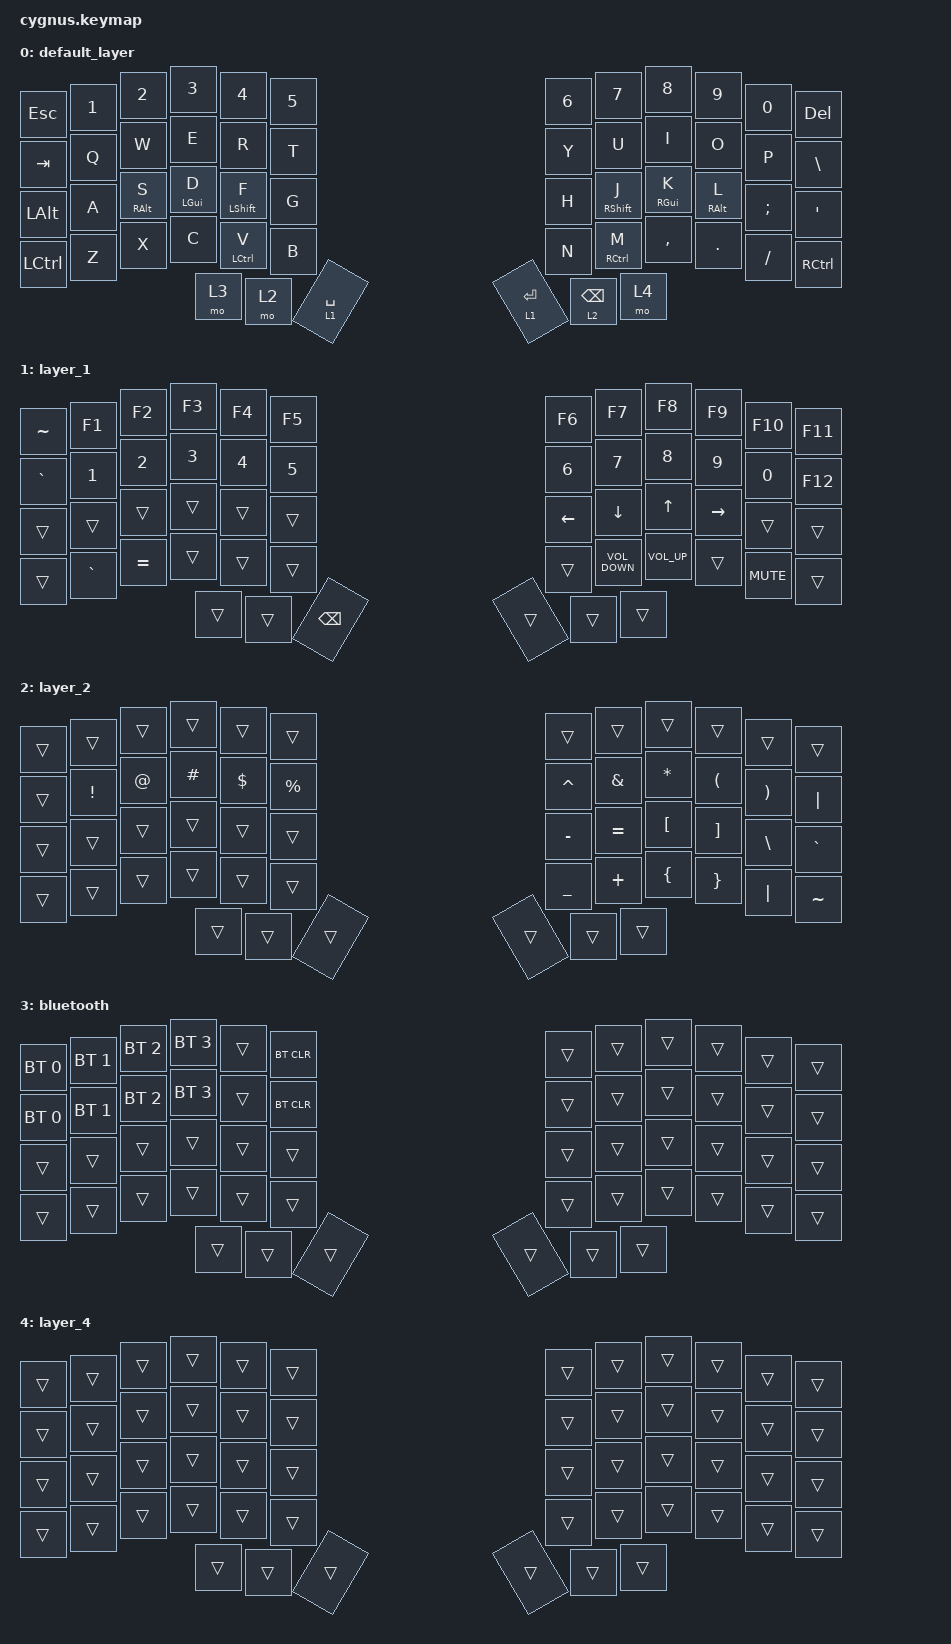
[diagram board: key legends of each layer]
//#include <behaviors/rgbled_widget.dtsi>

#include <behaviors.dtsi>
#include <dt-bindings/zmk/bt.h>
#include <dt-bindings/zmk/keys.h>

/ {
    combos {
        compatible = "zmk,combos";

        bt2 {
            bindings = <&mo 3>;
            key-positions = <48 53>;
        };
    };

    behaviors {
        hml: hml {
            compatible = "zmk,behavior-hold-tap";
            label = "HOME_ROW_LEFT";
            bindings = <&kp>, <&kp>;

            #binding-cells = <2>;
            hold-trigger-key-positions = <6 7 8 9 10 11 18 19 20 21 22 23 30 31 32 33 34 35 42 43 44 45 46 47>;
            tapping-term-ms = <180>;
            quick-tap-ms = <175>;
            require-prior-idle-ms = <150>;
            flavor = "balanced";
            hold-trigger-on-release;
        };

        hmr: hmr {
            compatible = "zmk,behavior-hold-tap";
            label = "HOME_ROW_RIGHT";
            bindings = <&kp>, <&kp>;

            #binding-cells = <2>;
            tapping-term-ms = <180>;
            quick-tap-ms = <175>;
            require-prior-idle-ms = <150>;
            flavor = "balanced";
            hold-trigger-key-positions = <0 1 2 3 4 5 12 13 14 15 16 17 24 25 26 27 28 29 36 37 38 39 40 41>;
            hold-trigger-on-release;
        };
    };

    keymap {
        compatible = "zmk,keymap";

        default_layer {
            // -----------------------------------------------------------------------------------------
            // |  ESC |  1  |  2  |  3  |  4  |  5  |   |  6  |  7   |  8  |  9  |  0  |  ?   |
            // |  TAB |  Q  |  W  |  E  |  R  |  T  |   |  Y  |  U   |  I  |  O  |  P  | BKSP |
            // | CTRL |  A  |  S  |  D  |  F  |  G  |   |  H  |  J   |  K  |  L  |  ;  |  '   |
            // | SHFT |  Z  |  X  |  C  |  V  |  B  |   |  N  |  M   |  ,  |  .  |  /  | ESC  |
            //                    | GUI | LWR | SPC |   | ENT | RSE  | ALT |

            bindings = <
&kp ESCAPE        &kp N1  &kp N2            &kp N3           &kp N4               &kp N5         &kp N6       &kp N7                &kp N8            &kp N9            &kp N0     &kp DELETE
&kp TAB           &kp Q   &kp W             &kp E            &kp R                &kp T          &kp Y        &kp U                 &kp I             &kp O             &kp P      &kp BACKSLASH
&kp LEFT_ALT      &kp A   &hml RIGHT_ALT S  &hml LEFT_GUI D  &hml LEFT_SHIFT F    &kp G          &kp H        &hmr RIGHT_SHIFT J    &hmr RIGHT_GUI K  &hmr RIGHT_ALT L  &kp SEMI   &kp SQT
&kp LEFT_CONTROL  &kp Z   &kp X             &kp C            &hml LEFT_CONTROL V  &kp B          &kp N        &hmr RIGHT_CONTROL M  &kp COMMA         &kp DOT           &kp SLASH  &kp RIGHT_CONTROL
                                            &mo 3            &mo 2                &lt 1 SPACE    &lt 1 ENTER  &lt 2 BACKSPACE       &mo 4
            >;
        };

        layer_1 {
            // -----------------------------------------------------------------------------------------
            // |  TAB |  F1 |  F2 |  F3 |  F4 |  F5 |   |  F6 |  F7 |  F8 |  F9 | F10 | BKSP |
            // |  TAB |  1  |  2  |  3  |  4  |  5  |   |  6  |  7  |  8  |  9  |  0  | BKSP |
            // | BTCLR| BT1 | BT2 | BT3 | BT4 | BT5 |   | LFT | DWN |  UP | RGT |     |      |
            // | SHFT |     |     |     |     |     |   |     |     |     |     |     |      |
            //                    | GUI |     | SPC |   | ENT |     | ALT |

            bindings = <
&kp TILDE  &kp F1        &kp F2        &kp F3        &kp F4        &kp F5           &kp F6          &kp F7             &kp F8           &kp F9           &kp F10     &kp F11
&kp GRAVE  &kp NUMBER_1  &kp NUMBER_2  &kp NUMBER_3  &kp NUMBER_4  &kp N5           &kp N6          &kp N7             &kp N8           &kp N9           &kp N0      &kp F12
&trans     &trans        &trans        &trans        &trans        &trans           &kp LEFT_ARROW  &kp DOWN_ARROW     &kp UP_ARROW     &kp RIGHT_ARROW  &trans      &trans
&trans     &kp GRAVE     &kp EQUAL     &trans        &trans        &trans           &trans          &kp C_VOLUME_DOWN  &kp C_VOLUME_UP  &trans           &kp C_MUTE  &trans
                                       &trans        &trans        &kp BACKSPACE    &trans          &trans             &trans
            >;
        };

        layer_2 {
            // -----------------------------------------------------------------------------------------
            // |  TAB |  !  |  @  |  #  |  $  |  %  |   |  ^  |  &  |  *  |  (  |  )  | BKSP |
            // | CTRL |     |     |     |     |     |   |  -  |  =  |  [  |  ]  |  \  |  `   |
            // | SHFT |     |     |     |     |     |   |  _  |  +  |  {  |  }  | "|" |  ~   |
            //                    | GUI |     | SPC |   | ENT |     | ALT |

            bindings = <
&trans  &trans    &trans  &trans    &trans    &trans       &trans     &trans     &trans     &trans    &trans    &trans
&trans  &kp EXCL  &kp AT  &kp HASH  &kp DLLR  &kp PRCNT    &kp CARET  &kp AMPS   &kp ASTRK  &kp LPAR  &kp RPAR  &kp PIPE
&trans  &trans    &trans  &trans    &trans    &trans       &kp MINUS  &kp EQUAL  &kp LBKT   &kp RBKT  &kp BSLH  &kp GRAVE
&trans  &trans    &trans  &trans    &trans    &trans       &kp UNDER  &kp PLUS   &kp LBRC   &kp RBRC  &kp PIPE  &kp TILDE
                          &trans    &trans    &trans       &trans     &trans     &trans
            >;
        };

        bluetooth {
            bindings = <
&bt BT_SEL 0  &bt BT_SEL 1  &bt BT_SEL 2  &bt BT_SEL 3  &trans  &bt BT_CLR    &trans  &trans  &trans  &trans  &trans  &trans
&bt BT_SEL 0  &bt BT_SEL 1  &bt BT_SEL 2  &bt BT_SEL 3  &trans  &bt BT_CLR    &trans  &trans  &trans  &trans  &trans  &trans
&trans        &trans        &trans        &trans        &trans  &trans        &trans  &trans  &trans  &trans  &trans  &trans
&trans        &trans        &trans        &trans        &trans  &trans        &trans  &trans  &trans  &trans  &trans  &trans
                                          &trans        &trans  &trans        &trans  &trans  &trans
            >;
        };

        layer_4 {
            bindings = <
&trans  &trans  &trans  &trans  &trans  &trans    &trans  &trans  &trans  &trans  &trans  &trans
&trans  &trans  &trans  &trans  &trans  &trans    &trans  &trans  &trans  &trans  &trans  &trans
&trans  &trans  &trans  &trans  &trans  &trans    &trans  &trans  &trans  &trans  &trans  &trans
&trans  &trans  &trans  &trans  &trans  &trans    &trans  &trans  &trans  &trans  &trans  &trans
                        &trans  &trans  &trans    &trans  &trans  &trans
            >;
        };
    };
};
